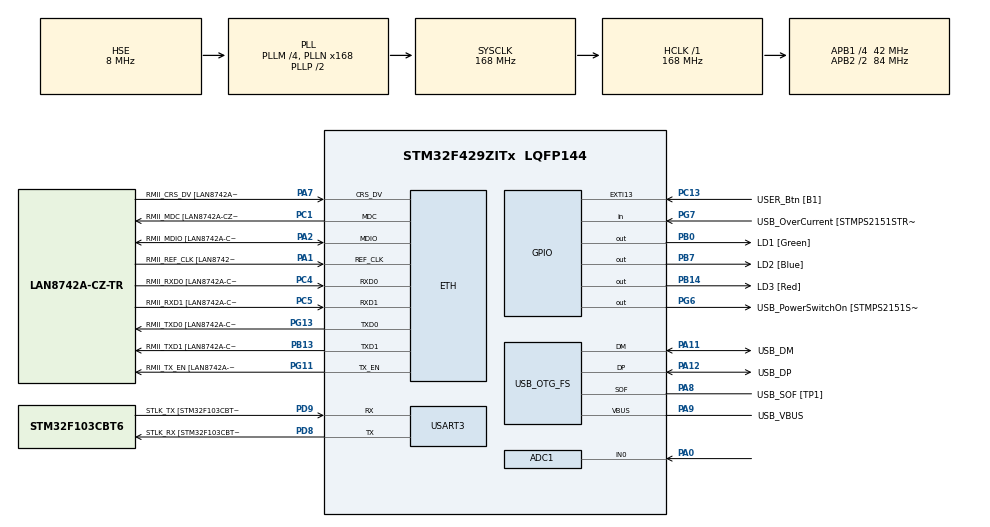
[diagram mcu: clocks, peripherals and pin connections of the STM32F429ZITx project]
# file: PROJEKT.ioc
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ADC1.Channel-1\#ChannelRegularConversion=ADC_CHANNEL_0
ADC1.NbrOfConversionFlag=1
ADC1.Rank-1\#ChannelRegularConversion=1
ADC1.SamplingTime-1\#ChannelRegularConversion=ADC_SAMPLETIME_3CYCLES
ADC1.master=1
ADC2.Channel-0\#ChannelRegularConversion=ADC_CHANNEL_0
ADC2.NbrOfConversionFlag=1
ADC2.Rank-0\#ChannelRegularConversion=1
ADC2.SamplingTime-0\#ChannelRegularConversion=ADC_SAMPLETIME_3CYCLES
ETH.MediaInterface=HAL_ETH_RMII_MODE
ETH.PHY_Name=LAN8742A_PHY_ADDRESS
ETH.PHY_Value=0
ETH.PhyAddress=0
Mcu.Family=STM32F4
Mcu.Name=STM32F429ZITx
Mcu.Package=LQFP144
NVIC.PriorityGroup=NVIC_PRIORITYGROUP_4
NVIC.USART3_IRQn=true\:0\:0\:false\:false\:true\:true\:true\:true
PA0/WKUP.Signal=ADCx_IN0
PA1.GPIO_Label=RMII_REF_CLK [LAN8742A-CZ-TR_REFCLK0]
PA1.Mode=RMII
PA1.Signal=ETH_REF_CLK
PA10.GPIO_Label=USB_ID
PA10.Signal=USB_OTG_FS_ID
PA11.GPIO_Label=USB_DM
PA11.Mode=Device_Only
PA11.Signal=USB_OTG_FS_DM
PA12.GPIO_Label=USB_DP
PA12.Mode=Device_Only
PA12.Signal=USB_OTG_FS_DP
PA13.GPIO_Label=TMS
PA13.Mode=Serial_Wire
PA13.Signal=SYS_JTMS-SWDIO
PA14.GPIO_Label=TCK
PA14.Mode=Serial_Wire
PA14.Signal=SYS_JTCK-SWCLK
PA2.GPIO_Label=RMII_MDIO [LAN8742A-CZ-TR_MDIO]
PA2.Mode=RMII
PA2.Signal=ETH_MDIO
PA7.GPIO_Label=RMII_CRS_DV [LAN8742A-CZ-TR_CRS_DV]
PA7.Mode=RMII
PA7.Signal=ETH_CRS_DV
PA8.GPIO_Label=USB_SOF [TP1]
PA8.Mode=Activate_SOF_FS
PA8.Signal=USB_OTG_FS_SOF
PA9.GPIO_Label=USB_VBUS
PA9.Mode=Activate_VBUS
PA9.Signal=USB_OTG_FS_VBUS
PB0.GPIO_Label=LD1 [Green]
PB0.Signal=GPIO_Output
PB13.GPIO_Label=RMII_TXD1 [LAN8742A-CZ-TR_TXD1]
PB13.Mode=RMII
PB13.Signal=ETH_TXD1
PB14.GPIO_Label=LD3 [Red]
PB14.Signal=GPIO_Output
PB7.GPIO_Label=LD2 [Blue]
PB7.Signal=GPIO_Output
PC1.GPIO_Label=RMII_MDC [LAN8742A-CZ-TR_MDC]
PC1.Mode=RMII
PC1.Signal=ETH_MDC
PC13.GPIO_Label=USER_Btn [B1]
PC13.Signal=GPXTI13
PC14/OSC32_IN.Mode=LSE-External-Oscillator
PC14/OSC32_IN.Signal=RCC_OSC32_IN
PC15/OSC32_OUT.Mode=LSE-External-Oscillator
PC15/OSC32_OUT.Signal=RCC_OSC32_OUT
PC4.GPIO_Label=RMII_RXD0 [LAN8742A-CZ-TR_RXD0]
PC4.Mode=RMII
PC4.Signal=ETH_RXD0
PC5.GPIO_Label=RMII_RXD1 [LAN8742A-CZ-TR_RXD1]
PC5.Mode=RMII
PC5.Signal=ETH_RXD1
PD8.GPIO_Label=STLK_RX [STM32F103CBT6_PA3]
PD8.Mode=Asynchronous
PD8.Signal=USART3_TX
PD9.GPIO_Label=STLK_TX [STM32F103CBT6_PA2]
PD9.Mode=Asynchronous
PD9.Signal=USART3_RX
PG11.GPIO_Label=RMII_TX_EN [LAN8742A-CZ-TR_TXEN]
PG11.Mode=RMII
PG11.Signal=ETH_TX_EN
PG13.GPIO_Label=RMII_TXD0 [LAN8742A-CZ-TR_TXD0]
PG13.Mode=RMII
PG13.Signal=ETH_TXD0
PG6.GPIO_Label=USB_PowerSwitchOn [STMPS2151STR_EN]
PG6.Signal=GPIO_Output
PG7.GPIO_Label=USB_OverCurrent [STMPS2151STR_FAULT]
PG7.Signal=GPIO_Input
PH0/OSC_IN.GPIO_Label=MCO [STM32F103CBT6_PA8]
PH0/OSC_IN.Mode=HSE-External-Clock-Source
PH0/OSC_IN.Signal=RCC_OSC_IN
PH1/OSC_OUT.Mode=HSE-External-Clock-Source
PH1/OSC_OUT.Signal=RCC_OSC_OUT
ProjectManager.HeapSize=0x200
ProjectManager.StackSize=0x400
ProjectManager.TargetToolchain=STM32CubeIDE
RCC.48MHZClocksFreq_Value=48000000
RCC.AHBFreq_Value=168000000
RCC.APB1CLKDivider=RCC_HCLK_DIV4
RCC.APB1Freq_Value=42000000
RCC.APB1TimFreq_Value=84000000
RCC.APB2CLKDivider=RCC_HCLK_DIV2
RCC.APB2Freq_Value=84000000
RCC.APB2TimCLKDivider=2
RCC.APB2TimFreq_Value=168000000
RCC.CortexFreq_Value=168000000
RCC.HCLKFreq_Value=168000000
RCC.HSE_VALUE=8000000
RCC.HSI_VALUE=16000000
RCC.PLLM=4
RCC.PLLMUL=RCC_PLL_MUL9
RCC.PLLN=168
RCC.PLLQ=7
RCC.PRESCALERUSB=RCC_USBCLKSOURCE_PLL_DIV1_5
RCC.SYSCLKFreq_VALUE=168000000
RCC.SYSCLKSource=RCC_SYSCLKSOURCE_PLLCLK
RCC.SYSCLKSourceVirtual=RCC_SYSCLKSOURCE_PLLCLK
RCC.USBFreq_Value=48000000
RCC.VCOOutputFreq_Value=336000000
SH.ADCx_IN0.0=ADC1_IN0,IN0
SH.ADCx_IN0.1=ADC2_IN0,IN0
USART3.VirtualMode=VM_ASYNC
USB_OTG_FS.VirtualMode=Device_Only
board=NUCLEO-F429ZI

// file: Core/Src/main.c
/* USER CODE BEGIN Header */
/**
  ******************************************************************************
  * @file           : main.c
  * @brief          : Main program body
  ******************************************************************************
  * @attention
  *
  * Copyright (c) 2024 STMicroelectronics.
  * All rights reserved.
  *
  * This software is licensed under terms that can be found in the LICENSE file
  * in the root directory of this software component.
  * If no LICENSE file comes with this software, it is provided AS-IS.
  *
  ******************************************************************************
  */
/* USER CODE END Header */
#include "main.h"
#include "string.h"

ETH_TxPacketConfig TxConfig;
ETH_DMADescTypeDef  DMARxDscrTab[ETH_RX_DESC_CNT]; /* Ethernet Rx DMA Descriptors */
ETH_DMADescTypeDef  DMATxDscrTab[ETH_TX_DESC_CNT]; /* Ethernet Tx DMA Descriptors */

ADC_HandleTypeDef hadc1;
ADC_HandleTypeDef hadc2;

ETH_HandleTypeDef heth;

UART_HandleTypeDef huart3;

PCD_HandleTypeDef hpcd_USB_OTG_FS;

/* USER CODE BEGIN PV */
uint8_t idx =0;
uint32_t adc_tab[10];
uint32_t ava_adc;
uint8_t toggle_loop =0;
uint8_t rx_data[2];
uint8_t rx_indx;
uint8_t rx_buffer[100];
uint32_t adcval;
uint8_t prompt[] = "\r\n>";
const char sensor_msg[] = "\r\n The LM35DZ is a precision temperature sensor that provides \r\n a linear "
		"voltage output directly proportional to temperature in Celsius.\r\n "
		"It features an accuracy of ±0.5°C at room temperature,\r\n a measurement range from -55°C to 150°C, "
		"and outputs 10 mV per 1°C.\r\n It's low power (60 µA) and easy to interface with analog and digital systems,\r\n "
		"making it ideal for environmental monitoring and automation applications.\r\n";
const char help_msg[] = "\r\nCommands:\n\rSENSOR - info about the sensor. \r\nTEMP - read from the sensor in Celcius. \r\nTRAIN - show temperature every 0.5s\r\nAVA - show avarage temperature of the last 10 measurements:\r\n";
const char error_msg[] = "\r\nUnknown command type HELP for help\r\n";
const char ava_msg[] = "\r\nAvarage of the last 10 measurements:\r\n";
/* USER CODE END PV */

void SystemClock_Config(void);
static void MX_GPIO_Init(void);
static void MX_ETH_Init(void);
static void MX_USART3_UART_Init(void);
static void MX_USB_OTG_FS_PCD_Init(void);
static void MX_ADC1_Init(void);
static void MX_ADC2_Init(void);
/* USER CODE BEGIN PFP */

void temp_conv(uint16_t temp);
void print_char(uint32_t num);
void ava_temp(uint32_t tab[]);
/* USER CODE END PFP */

/* USER CODE BEGIN 0 */
void HAL_UART_RxCpltCallback(UART_HandleTypeDef *huart)
{
  if (huart == &huart3) {
    command_processing(rx_data);
    HAL_UART_Receive_IT(&huart3, &rx_data, 1);
    HAL_UART_Transmit(&huart3, &rx_data,1, 10);
  }
}

void command_processing(uint8_t value)
{
  uint8_t i;
  if (rx_data[0] != 13 && rx_data[0] != 127)
  	  {
	   rx_buffer[rx_indx++] = rx_data[0];
  	  }
  else if(rx_data[0] == 127)
  	  {
	  rx_buffer[rx_indx--];
  	  }
  else
  	  {
	  rx_buffer[rx_indx]='\0';

	  rx_indx = 0;
	  HAL_UART_Transmit(&huart3, &prompt, strlen(prompt), 100);
	  if(!strcmp(rx_buffer, "TEMP"))
	  	  {

		  temp_conv(adcval);

	  	  }
	  else if(!strcmp(rx_buffer, "HELP"))
	 	  {
		  HAL_UART_Transmit(&huart3,&help_msg ,strlen(help_msg) , HAL_MAX_DELAY);
	 	  }
	  else if(!strcmp(rx_buffer, "SENSOR"))
	  	  {
		  HAL_UART_Transmit(&huart3,&sensor_msg ,strlen(sensor_msg) , HAL_MAX_DELAY);
	  	  }
	  else if(!strcmp(rx_buffer, "AVA"))
	  	  {
	  	  ava_temp(adc_tab);
	  	  HAL_UART_Transmit(&huart3,&ava_msg ,strlen(ava_msg) , HAL_MAX_DELAY);
	  	  temp_conv(ava_adc);
	  	  }
	  else if(!strcmp(rx_buffer, "TRAIN") || !strcmp(rx_buffer, "T"))
	 	  {
		  HAL_GPIO_TogglePin(GPIOB, LD2_Pin);
	 	  if(toggle_loop == 0)
	 		 {
	 		 toggle_loop = 1;
	 		 }
	 	  else
	 		 {
	 		  toggle_loop = 0;
	 		  }
	 	  	 }
	  else
	  	  {
		  HAL_UART_Transmit(&huart3,&error_msg ,strlen(error_msg) , HAL_MAX_DELAY);
	  	  }
  	  }

}

/* USER CODE END 0 */

int main(void)
{
  /* USER CODE BEGIN 1 */
	const char main_msg[] = "\n\rLM35DZ temperature interface by Piotr Osika\n\rType HELP fot help\n\r\n\r";
  /* USER CODE END 1 */

  /* MCU Configuration--------------------------------------------------------*/

  /* Reset of all peripherals, Initializes the Flash interface and the Systick. */
  HAL_Init();

  /* Configure the system clock */
  SystemClock_Config();

  /* Initialize all configured peripherals */
  MX_GPIO_Init();
  MX_ETH_Init();
  MX_USART3_UART_Init();
  MX_USB_OTG_FS_PCD_Init();
  MX_ADC1_Init();
  MX_ADC2_Init();
  /* USER CODE BEGIN 2 */

  HAL_UART_Transmit(&huart3, &main_msg, strlen(main_msg), HAL_MAX_DELAY);
  HAL_UART_Receive_IT(&huart3, &rx_data, 1);
  /* USER CODE END 2 */

  /* Infinite loop */
  while (1)
  {

    /* USER CODE BEGIN 3 */
	  HAL_ADC_Start(&hadc1);

	  if(HAL_ADC_PollForConversion(&hadc1,100) == HAL_OK)
	  {
		  adcval = HAL_ADC_GetValue(&hadc1);
	  }

	  HAL_ADC_Stop(&hadc1);

	  if(idx<10)
	  {
		  adc_tab[idx] = adcval;
		  idx++;
	  }
	  else
	  {
		  idx = 0;
		  adc_tab[idx] = adcval;
	  }
	  if(toggle_loop)
	  {
		  temp_conv(adcval);
	  }
	  HAL_GPIO_TogglePin(GPIOB, LD1_Pin);
	  HAL_Delay(500);
  }
  /* USER CODE END 3 */
}

void SystemClock_Config(void)
{
  RCC_OscInitTypeDef RCC_OscInitStruct = {0};
  RCC_ClkInitTypeDef RCC_ClkInitStruct = {0};

  /** Configure the main internal regulator output voltage
  */
  __HAL_RCC_PWR_CLK_ENABLE();
  __HAL_PWR_VOLTAGESCALING_CONFIG(PWR_REGULATOR_VOLTAGE_SCALE1);

  /** Initializes the RCC Oscillators according to the specified parameters
  * in the RCC_OscInitTypeDef structure.
  */
  RCC_OscInitStruct.OscillatorType = RCC_OSCILLATORTYPE_HSE;
  RCC_OscInitStruct.HSEState = RCC_HSE_BYPASS;
  RCC_OscInitStruct.PLL.PLLState = RCC_PLL_ON;
  RCC_OscInitStruct.PLL.PLLSource = RCC_PLLSOURCE_HSE;
  RCC_OscInitStruct.PLL.PLLM = 4;
  RCC_OscInitStruct.PLL.PLLN = 168;
  RCC_OscInitStruct.PLL.PLLP = RCC_PLLP_DIV2;
  RCC_OscInitStruct.PLL.PLLQ = 7;
  if (HAL_RCC_OscConfig(&RCC_OscInitStruct) != HAL_OK)
  {
    Error_Handler();
  }

  /** Initializes the CPU, AHB and APB buses clocks
  */
  RCC_ClkInitStruct.ClockType = RCC_CLOCKTYPE_HCLK|RCC_CLOCKTYPE_SYSCLK
                              |RCC_CLOCKTYPE_PCLK1|RCC_CLOCKTYPE_PCLK2;
  RCC_ClkInitStruct.SYSCLKSource = RCC_SYSCLKSOURCE_PLLCLK;
  RCC_ClkInitStruct.AHBCLKDivider = RCC_SYSCLK_DIV1;
  RCC_ClkInitStruct.APB1CLKDivider = RCC_HCLK_DIV4;
  RCC_ClkInitStruct.APB2CLKDivider = RCC_HCLK_DIV2;

  if (HAL_RCC_ClockConfig(&RCC_ClkInitStruct, FLASH_LATENCY_5) != HAL_OK)
  {
    Error_Handler();
  }
}

static void MX_ADC1_Init(void)
{

  ADC_ChannelConfTypeDef sConfig = {0};

  /** Configure the global features of the ADC (Clock, Resolution, Data Alignment and number of conversion)
  */
  hadc1.Instance = ADC1;
  hadc1.Init.ClockPrescaler = ADC_CLOCK_SYNC_PCLK_DIV4;
  hadc1.Init.Resolution = ADC_RESOLUTION_12B;
  hadc1.Init.ScanConvMode = DISABLE;
  hadc1.Init.ContinuousConvMode = DISABLE;
  hadc1.Init.DiscontinuousConvMode = DISABLE;
  hadc1.Init.ExternalTrigConvEdge = ADC_EXTERNALTRIGCONVEDGE_NONE;
  hadc1.Init.ExternalTrigConv = ADC_SOFTWARE_START;
  hadc1.Init.DataAlign = ADC_DATAALIGN_RIGHT;
  hadc1.Init.NbrOfConversion = 1;
  hadc1.Init.DMAContinuousRequests = DISABLE;
  hadc1.Init.EOCSelection = ADC_EOC_SINGLE_CONV;
  if (HAL_ADC_Init(&hadc1) != HAL_OK)
  {
    Error_Handler();
  }

  /** Configure for the selected ADC regular channel its corresponding rank in the sequencer and its sample time.
  */
  sConfig.Channel = ADC_CHANNEL_0;
  sConfig.Rank = 1;
  sConfig.SamplingTime = ADC_SAMPLETIME_3CYCLES;
  if (HAL_ADC_ConfigChannel(&hadc1, &sConfig) != HAL_OK)
  {
    Error_Handler();
  }

}

static void MX_ADC2_Init(void)
{

  ADC_ChannelConfTypeDef sConfig = {0};

  /** Configure the global features of the ADC (Clock, Resolution, Data Alignment and number of conversion)
  */
  hadc2.Instance = ADC2;
  hadc2.Init.ClockPrescaler = ADC_CLOCK_SYNC_PCLK_DIV4;
  hadc2.Init.Resolution = ADC_RESOLUTION_12B;
  hadc2.Init.ScanConvMode = DISABLE;
  hadc2.Init.ContinuousConvMode = DISABLE;
  hadc2.Init.DiscontinuousConvMode = DISABLE;
  hadc2.Init.ExternalTrigConvEdge = ADC_EXTERNALTRIGCONVEDGE_NONE;
  hadc2.Init.ExternalTrigConv = ADC_SOFTWARE_START;
  hadc2.Init.DataAlign = ADC_DATAALIGN_RIGHT;
  hadc2.Init.NbrOfConversion = 1;
  hadc2.Init.DMAContinuousRequests = DISABLE;
  hadc2.Init.EOCSelection = ADC_EOC_SINGLE_CONV;
  if (HAL_ADC_Init(&hadc2) != HAL_OK)
  {
    Error_Handler();
  }

  /** Configure for the selected ADC regular channel its corresponding rank in the sequencer and its sample time.
  */
  sConfig.Channel = ADC_CHANNEL_0;
  sConfig.Rank = 1;
  sConfig.SamplingTime = ADC_SAMPLETIME_3CYCLES;
  if (HAL_ADC_ConfigChannel(&hadc2, &sConfig) != HAL_OK)
  {
    Error_Handler();
  }

}

static void MX_ETH_Init(void)
{

   static uint8_t MACAddr[6];

  heth.Instance = ETH;
  MACAddr[0] = 0x00;
  MACAddr[1] = 0x80;
  MACAddr[2] = 0xE1;
  MACAddr[3] = 0x00;
  MACAddr[4] = 0x00;
  MACAddr[5] = 0x00;
  heth.Init.MACAddr = &MACAddr[0];
  heth.Init.MediaInterface = HAL_ETH_RMII_MODE;
  heth.Init.TxDesc = DMATxDscrTab;
  heth.Init.RxDesc = DMARxDscrTab;
  heth.Init.RxBuffLen = 1524;

  if (HAL_ETH_Init(&heth) != HAL_OK)
  {
    Error_Handler();
  }

  memset(&TxConfig, 0 , sizeof(ETH_TxPacketConfig));
  TxConfig.Attributes = ETH_TX_PACKETS_FEATURES_CSUM | ETH_TX_PACKETS_FEATURES_CRCPAD;
  TxConfig.ChecksumCtrl = ETH_CHECKSUM_IPHDR_PAYLOAD_INSERT_PHDR_CALC;
  TxConfig.CRCPadCtrl = ETH_CRC_PAD_INSERT;

}

static void MX_USART3_UART_Init(void)
{

  huart3.Instance = USART3;
  huart3.Init.BaudRate = 115200;
  huart3.Init.WordLength = UART_WORDLENGTH_8B;
  huart3.Init.StopBits = UART_STOPBITS_1;
  huart3.Init.Parity = UART_PARITY_NONE;
  huart3.Init.Mode = UART_MODE_TX_RX;
  huart3.Init.HwFlowCtl = UART_HWCONTROL_NONE;
  huart3.Init.OverSampling = UART_OVERSAMPLING_16;
  if (HAL_UART_Init(&huart3) != HAL_OK)
  {
    Error_Handler();
  }

}

static void MX_USB_OTG_FS_PCD_Init(void)
{

  hpcd_USB_OTG_FS.Instance = USB_OTG_FS;
  hpcd_USB_OTG_FS.Init.dev_endpoints = 4;
  hpcd_USB_OTG_FS.Init.speed = PCD_SPEED_FULL;
  hpcd_USB_OTG_FS.Init.dma_enable = DISABLE;
  hpcd_USB_OTG_FS.Init.phy_itface = PCD_PHY_EMBEDDED;
  hpcd_USB_OTG_FS.Init.Sof_enable = ENABLE;
  hpcd_USB_OTG_FS.Init.low_power_enable = DISABLE;
  hpcd_USB_OTG_FS.Init.lpm_enable = DISABLE;
  hpcd_USB_OTG_FS.Init.vbus_sensing_enable = ENABLE;
  hpcd_USB_OTG_FS.Init.use_dedicated_ep1 = DISABLE;
  if (HAL_PCD_Init(&hpcd_USB_OTG_FS) != HAL_OK)
  {
    Error_Handler();
  }

}

static void MX_GPIO_Init(void)
{
  GPIO_InitTypeDef GPIO_InitStruct = {0};

  /* GPIO Ports Clock Enable */
  __HAL_RCC_GPIOC_CLK_ENABLE();
  __HAL_RCC_GPIOH_CLK_ENABLE();
  __HAL_RCC_GPIOA_CLK_ENABLE();
  __HAL_RCC_GPIOB_CLK_ENABLE();
  __HAL_RCC_GPIOD_CLK_ENABLE();
  __HAL_RCC_GPIOG_CLK_ENABLE();

  /*Configure GPIO pin Output Level */
  HAL_GPIO_WritePin(GPIOB, LD1_Pin|LD3_Pin|LD2_Pin, GPIO_PIN_RESET);

  /*Configure GPIO pin Output Level */
  HAL_GPIO_WritePin(USB_PowerSwitchOn_GPIO_Port, USB_PowerSwitchOn_Pin, GPIO_PIN_RESET);

  /*Configure GPIO pin : USER_Btn_Pin */
  GPIO_InitStruct.Pin = USER_Btn_Pin;
  GPIO_InitStruct.Mode = GPIO_MODE_IT_RISING;
  GPIO_InitStruct.Pull = GPIO_NOPULL;
  HAL_GPIO_Init(USER_Btn_GPIO_Port, &GPIO_InitStruct);

  /*Configure GPIO pins : LD1_Pin LD3_Pin LD2_Pin */
  GPIO_InitStruct.Pin = LD1_Pin|LD3_Pin|LD2_Pin;
  GPIO_InitStruct.Mode = GPIO_MODE_OUTPUT_PP;
  GPIO_InitStruct.Pull = GPIO_NOPULL;
  GPIO_InitStruct.Speed = GPIO_SPEED_FREQ_LOW;
  HAL_GPIO_Init(GPIOB, &GPIO_InitStruct);

  /*Configure GPIO pin : USB_PowerSwitchOn_Pin */
  GPIO_InitStruct.Pin = USB_PowerSwitchOn_Pin;
  GPIO_InitStruct.Mode = GPIO_MODE_OUTPUT_PP;
  GPIO_InitStruct.Pull = GPIO_NOPULL;
  GPIO_InitStruct.Speed = GPIO_SPEED_FREQ_LOW;
  HAL_GPIO_Init(USB_PowerSwitchOn_GPIO_Port, &GPIO_InitStruct);

  /*Configure GPIO pin : USB_OverCurrent_Pin */
  GPIO_InitStruct.Pin = USB_OverCurrent_Pin;
  GPIO_InitStruct.Mode = GPIO_MODE_INPUT;
  GPIO_InitStruct.Pull = GPIO_NOPULL;
  HAL_GPIO_Init(USB_OverCurrent_GPIO_Port, &GPIO_InitStruct);

}

/* USER CODE BEGIN 4 */
void ava_temp(uint32_t tab[])
{
	uint32_t sum = 0;

	for (int i = 0; i < 10; i++)
		{
	    sum += tab[i];
	    }
	    ava_adc = sum / 10;
}
void temp_conv(uint16_t temp)
{
	uint32_t temp_var =0;
	temp_var = (temp*8.05);
	HAL_UART_Transmit(&huart3, "Temp: ", 6, 100);
	print_char(temp_var);
}
void print_char(uint32_t num)
{
	uint8_t char_num_var[] = {"000000°C\r\n"};
	uint8_t i=5;
	while(num !=0)
	{
		char_num_var[i]=(num%10) + 48;
		num = num/10;
		i--;
		if(i==3)
		{
			char_num_var[i] = '.';
			i--;
		}
	}
	char_num_var[i] =(num%10) + 48;
	HAL_UART_Transmit(&huart3, &char_num_var[0], 10, 100);
	HAL_UART_Transmit(&huart3, &prompt, strlen(prompt), 100);
}
/* USER CODE END 4 */

void Error_Handler(void)
{
  __disable_irq();
  while (1)
  {
  }
}
